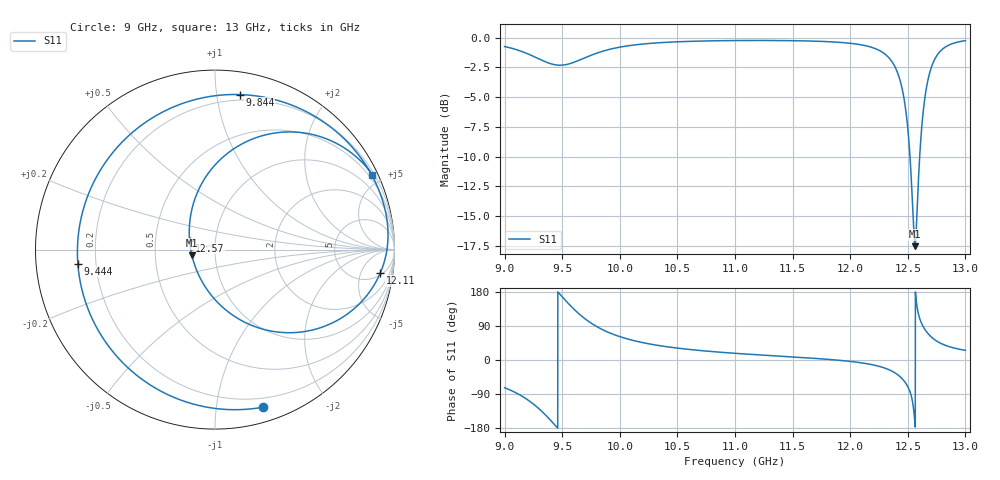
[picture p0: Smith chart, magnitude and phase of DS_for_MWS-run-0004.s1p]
! TOUCHSTONE file generated by CST DESIGN STUDIO
! Date and time: Tue Feb  4 17:37:51 2025
! Project name: C:\Work\MatlabApps\UnitCellOptimizationMatlab\CST\unitcell.cst
! Tree item: Tasks\Sweep1\SPara1\S-Parameters
! Header version: 2024
! Port assignment regex: !\s*Touchstone port\s*([0-9]+)\s*=\s*(CST MWS port|CST DES external port|CST DES block port)\s*(.+)\s* \(\"(.*)\"\)(\s*mode\s*([0-9]+))?.*
! Touchstone port assignment:
! Touchstone port 1 = CST DES external port 1 ("")
# GHz S MA R 50
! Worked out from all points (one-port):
!   4001 points, 9 GHz to 13 GHz, reference 50 ohm
!   lowest |S11| = -17.5 dB at 12.56 GHz (marker M1), VSWR 1.31, Z = 38.5 - j2.42 ohm
!   |S11| at or under -10 dB: 12.52 GHz to 12.6 GHz (84.12 MHz wide, 0.67 % of centre)
!   S11 on the Smith chart (normalised r, x): 9 GHz: 0.12, -1.34; 9.444 GHz: 0.13, -0.05; 9.844 GHz: 0.16, +1.16; 12.11 GHz: 6, -11; 12.57 GHz: 0.75, +0.08; 13 GHz: 0.29, +4.40
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9  0.9177 -73.2
9.137  0.8791 -93.0
9.242  0.8382 -114.3
9.337  0.7982 -139.6
9.444  0.7683 -174.1
9.5  0.7664 166.7
9.585  0.7827 139.1
9.663  0.81 117.3
9.746  0.8417 98.3
9.844  0.8747 81.0
10  0.9123 61.6
10.216  0.942 44.8
10.5  0.9608 31.4
11  0.9725 17.6
11.5  0.9712 8.1
12  0.9471 -3.7
12.109  0.9303 -8.0
12.252  0.8839 -16.8
12.351  0.8067 -27.7
12.444  0.6308 -47.2
12.5  0.4146 -70.4
12.548  0.1659 -124.0
12.562  0.1327 -166.6
12.572  0.1502 160.6
12.628  0.4587 91.4
12.694  0.7228 63.6
12.816  0.9065 39.9
13  0.9717 25.5
